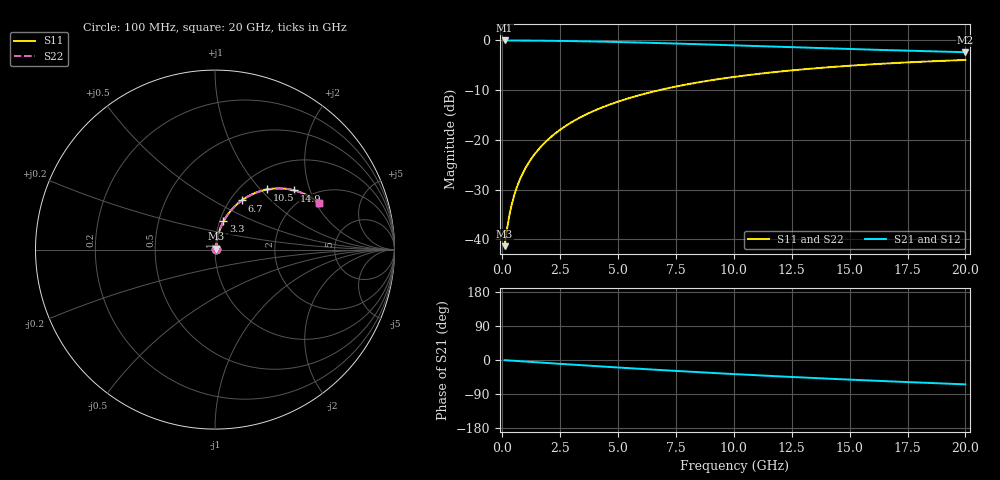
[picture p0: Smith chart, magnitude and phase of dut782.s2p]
! Touchstone file exported from HFSS 2026.1.0
!  File:  C:/ffzhzh/LocalFiles/Ansys_Project_Files/temp_train_BSMRDL_782_1783169397_22436.aedt
!  Generated:  08:51:25 PM Jul  4, 2026
!  Design:  BSMRDL
!  Project:  temp_train_BSMRDL_782_1783169397_22436
! Variables:
!  h_bsmrdl = 4.79um
!  h_ox = 20um
!  h_rdl = 5um
!  h_sub = 80um
!  h_tmrdl = 5um
!  h_tsv = 80um
!  h_via = 3um
!  l_bsmrdl = 980.78um
!  l_sub = 1380.78um
!  l_tmrdl = 200um
!  m_sub = 200um
!  pitch = 47.02um
!  r_tsv = 6um
!  s_tmrdl = 10um
!  w_bsmrdl = 10.69um
!  w_sub = 500um
!  w_tmrdl = 12um
!  x_tsv_center1 = 206um
!  x_tsv_center2 = 1197.47um
!  x_tsv_center3 = 1409.47um
!  x_tsv_center4 = 2400.94um
!  x_tsv_center5 = 2612.94um
!  x_tsv_center6 = 3604.41um
# GHz S MA R 50.000000
! Terminal data exported
! Port[1] = BSM_RDL1_1_T1
! Port[2] = BSM_RDL1_1_T2
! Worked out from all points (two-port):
!   200 points, 100 MHz to 20 GHz, reference 50 ohm
!   highest |S21| = -0.06 dB at 100 MHz (marker M1); lowest = -2.4 dB at 20 GHz (marker M2)
!   |S21| within 3 dB of the highest: start of sweep to end of sweep
!   lowest |S11| = -41.4 dB at 100 MHz (marker M3), VSWR 1.02, Z = 50.7 + j0.53 ohm
!   |S11| at or under -10 dB: start of sweep to 6.815 GHz
!   |S22| runs from -41.4 to -4.0 dB; largest |S21 - S12| = 7.4e-15
!   S11 on the Smith chart (normalised r, x): 100 MHz: 1.01, +0.01; 3.3 GHz: 1.04, +0.34; 6.7 GHz: 1.13, +0.69; 10.5 GHz: 1.30, +1.08; 14.9 GHz: 1.66, +1.57; 20 GHz: 2.43, +2.11
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0.1  0.008537 37.7  0.9933 -0.4  0.9933 -0.4  0.008537 37.7
! Gamma 0 0 0 0
! Port Impedance 50 0 50 0
0.2  0.01253 56.3  0.9931 -0.8  0.9931 -0.8  0.01253 56.3
0.3  0.01717 65.0  0.993 -1.2  0.993 -1.2  0.01717 65.0
0.4  0.02201 69.7  0.9927 -1.7  0.9927 -1.7  0.02201 69.7
0.5  0.02694 72.5  0.9925 -2.1  0.9925 -2.1  0.02694 72.5
0.7  0.03687 75.6  0.992 -2.9  0.992 -2.9  0.03687 75.6
1  0.05184 77.4  0.991 -4.1  0.991 -4.1  0.05184 77.4
1.4  0.07182 77.9  0.9895 -5.7  0.9895 -5.7  0.07182 77.9
1.9  0.09667 77.3  0.987 -7.7  0.987 -7.7  0.09667 77.3
2.5  0.1261 75.8  0.9831 -10.1  0.9831 -10.1  0.1261 75.8
3.3  0.1644 73.3  0.9766 -13.3  0.9766 -13.3  0.1644 73.3
3.5  0.1738 72.6  0.9747 -14.1  0.9747 -14.1  0.1738 72.6
4.9  0.2372 67.7  0.9597 -19.4  0.9597 -19.4  0.2372 67.7
6.7  0.3117 61.5  0.9364 -26.0  0.9364 -26.0  0.3117 61.4
6.8  0.3157 61.1  0.935 -26.4  0.935 -26.4  0.3157 61.1
8.3  0.3712 56.1  0.9134 -31.6  0.9134 -31.6  0.3712 56.1
10.1  0.4304 50.4  0.8864 -37.5  0.8864 -37.5  0.4304 50.4
10.5  0.4425 49.2  0.8804 -38.7  0.8804 -38.7  0.4425 49.2
13.4  0.5191 40.8  0.8376 -47.4  0.8376 -47.4  0.5191 40.7
14.9  0.5517 36.7  0.8168 -51.5  0.8168 -51.5  0.5517 36.7
16.7  0.5852 32.1  0.7937 -56.3  0.7937 -56.3  0.5852 32.1
20  0.6327 24.3  0.7576 -64.3  0.7576 -64.3  0.6327 24.2
